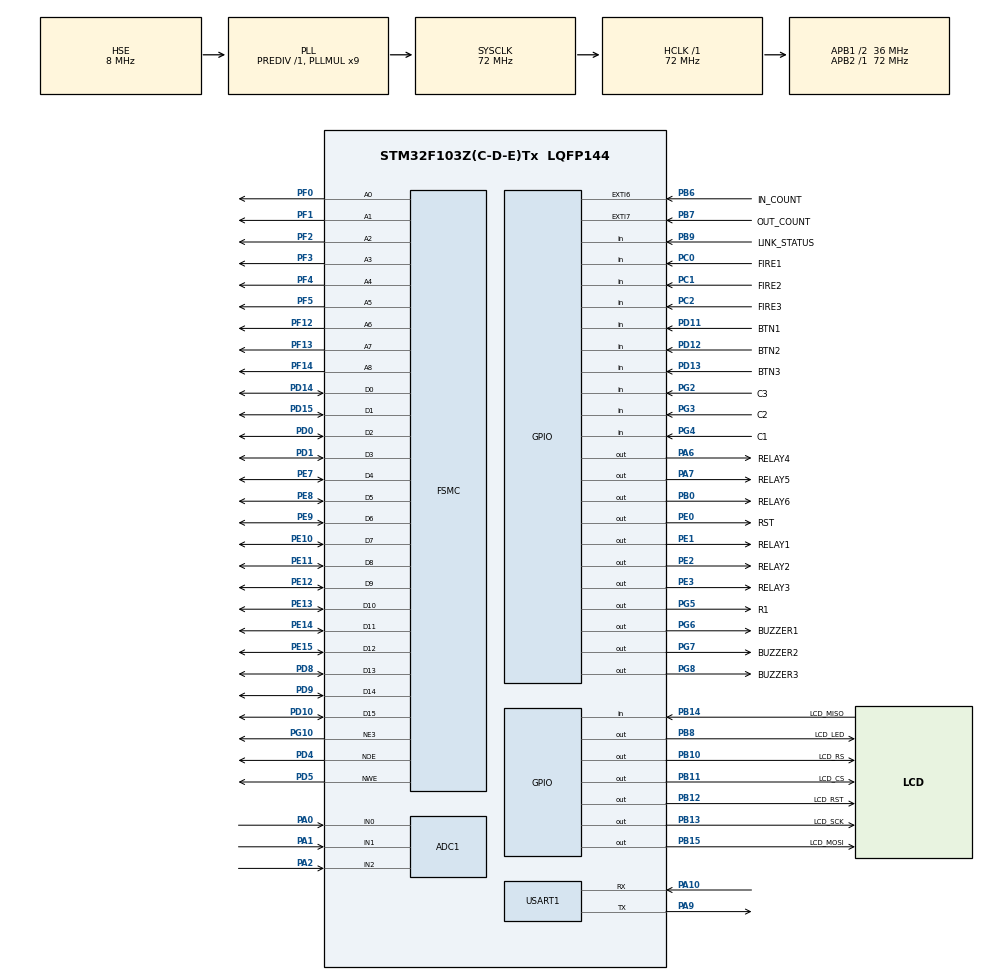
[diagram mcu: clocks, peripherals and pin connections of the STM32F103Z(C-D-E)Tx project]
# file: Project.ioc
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ADC1.Channel-0\#ChannelRegularConversion=ADC_CHANNEL_0
ADC1.Channel-6\#ChannelRegularConversion=ADC_CHANNEL_1
ADC1.Channel-7\#ChannelRegularConversion=ADC_CHANNEL_2
ADC1.DiscontinuousConvMode=ENABLE
ADC1.NbrOfConversion=3
ADC1.NbrOfConversionFlag=1
ADC1.Rank-0\#ChannelRegularConversion=1
ADC1.Rank-6\#ChannelRegularConversion=2
ADC1.Rank-7\#ChannelRegularConversion=3
ADC1.SamplingTime-0\#ChannelRegularConversion=ADC_SAMPLETIME_55CYCLES_5
ADC1.SamplingTime-6\#ChannelRegularConversion=ADC_SAMPLETIME_55CYCLES_5
ADC1.SamplingTime-7\#ChannelRegularConversion=ADC_SAMPLETIME_55CYCLES_5
ADC1.master=1
FSMC.AddressSetupTime1=1
FSMC.BusTurnAroundDuration1=0
FSMC.DataSetupTime1=15
FSMC.WriteOperation1=FSMC_WRITE_OPERATION_ENABLE
Mcu.Family=STM32F1
Mcu.Name=STM32F103Z(C-D-E)Tx
Mcu.Package=LQFP144
NVIC.EXTI9_5_IRQn=true\:1\:0\:true\:false\:true\:true\:true\:true
NVIC.PriorityGroup=NVIC_PRIORITYGROUP_4
NVIC.TIM2_IRQn=true\:0\:0\:false\:false\:true\:true\:true\:true
NVIC.TIM4_IRQn=true\:0\:0\:false\:false\:true\:true\:true\:true
OSC_IN.Mode=HSE-External-Oscillator
OSC_IN.Signal=RCC_OSC_IN
OSC_OUT.Mode=HSE-External-Oscillator
OSC_OUT.Signal=RCC_OSC_OUT
PA0-WKUP.Signal=ADCx_IN0
PA1.Signal=ADCx_IN1
PA10.Mode=Asynchronous
PA10.Signal=USART1_RX
PA2.Signal=ADCx_IN2
PA6.GPIO_Label=RELAY4
PA6.GPIO_PuPd=GPIO_PULLUP
PA6.GPIO_Speed=GPIO_SPEED_FREQ_HIGH
PA6.PinState=GPIO_PIN_SET
PA6.Signal=GPIO_Output
PA7.GPIO_Label=RELAY5
PA7.GPIO_PuPd=GPIO_PULLUP
PA7.GPIO_Speed=GPIO_SPEED_FREQ_HIGH
PA7.PinState=GPIO_PIN_SET
PA7.Signal=GPIO_Output
PA9.Mode=Asynchronous
PA9.Signal=USART1_TX
PB0.GPIO_Label=RELAY6
PB0.GPIO_PuPd=GPIO_PULLUP
PB0.GPIO_Speed=GPIO_SPEED_FREQ_HIGH
PB0.PinState=GPIO_PIN_SET
PB0.Signal=GPIO_Output
PB10.GPIO_Label=LCD_RS
PB10.GPIO_PuPd=GPIO_PULLDOWN
PB10.GPIO_Speed=GPIO_SPEED_FREQ_HIGH
PB10.PinState=GPIO_PIN_SET
PB10.Signal=GPIO_Output
PB11.GPIO_Label=LCD_CS
PB11.GPIO_PuPd=GPIO_PULLDOWN
PB11.GPIO_Speed=GPIO_SPEED_FREQ_HIGH
PB11.PinState=GPIO_PIN_SET
PB11.Signal=GPIO_Output
PB12.GPIO_Label=LCD_RST
PB12.GPIO_PuPd=GPIO_PULLDOWN
PB12.GPIO_Speed=GPIO_SPEED_FREQ_HIGH
PB12.PinState=GPIO_PIN_SET
PB12.Signal=GPIO_Output
PB13.GPIO_Label=LCD_SCK
PB13.GPIO_PuPd=GPIO_PULLDOWN
PB13.GPIO_Speed=GPIO_SPEED_FREQ_HIGH
PB13.PinState=GPIO_PIN_SET
PB13.Signal=GPIO_Output
PB14.GPIO_Label=LCD_MISO
PB14.GPIO_PuPd=GPIO_PULLUP
PB14.Signal=GPIO_Input
PB15.GPIO_Label=LCD_MOSI
PB15.GPIO_PuPd=GPIO_PULLDOWN
PB15.GPIO_Speed=GPIO_SPEED_FREQ_HIGH
PB15.PinState=GPIO_PIN_SET
PB15.Signal=GPIO_Output
PB6.GPIO_Label=IN_COUNT
PB6.GPIO_PuPd=GPIO_PULLUP
PB6.Signal=GPXTI6
PB7.GPIO_Label=OUT_COUNT
PB7.GPIO_PuPd=GPIO_PULLUP
PB7.Signal=GPXTI7
PB8.GPIO_Label=LCD_LED
PB8.GPIO_PuPd=GPIO_PULLUP
PB8.GPIO_Speed=GPIO_SPEED_FREQ_HIGH
PB8.PinState=GPIO_PIN_SET
PB8.Signal=GPIO_Output
PB9.GPIO_Label=LINK_STATUS
PB9.GPIO_PuPd=GPIO_PULLUP
PB9.Signal=GPIO_Input
PC0.GPIO_Label=FIRE1
PC0.GPIO_PuPd=GPIO_PULLUP
PC0.Signal=GPIO_Input
PC1.GPIO_Label=FIRE2
PC1.GPIO_PuPd=GPIO_PULLUP
PC1.Signal=GPIO_Input
PC2.GPIO_Label=FIRE3
PC2.GPIO_PuPd=GPIO_PULLUP
PC2.Signal=GPIO_Input
PD0.Signal=FSMC_D2_DA2
PD1.Signal=FSMC_D3_DA3
PD10.Signal=FSMC_D15_DA15
PD11.GPIO_Label=BTN1
PD11.GPIO_PuPd=GPIO_PULLUP
PD11.Signal=GPIO_Input
PD12.GPIO_Label=BTN2
PD12.GPIO_PuPd=GPIO_PULLUP
PD12.Signal=GPIO_Input
PD13.GPIO_Label=BTN3
PD13.GPIO_PuPd=GPIO_PULLUP
PD13.Signal=GPIO_Input
PD14.Signal=FSMC_D0_DA0
PD15.Signal=FSMC_D1_DA1
PD4.Signal=FSMC_NOE
PD5.Signal=FSMC_NWE
PD8.Signal=FSMC_D13_DA13
PD9.Signal=FSMC_D14_DA14
PE0.GPIO_Label=RST
PE0.GPIO_PuPd=GPIO_PULLUP
PE0.GPIO_Speed=GPIO_SPEED_FREQ_HIGH
PE0.PinState=GPIO_PIN_SET
PE0.Signal=GPIO_Output
PE1.GPIO_Label=RELAY1
PE1.GPIO_PuPd=GPIO_PULLUP
PE1.GPIO_Speed=GPIO_SPEED_FREQ_HIGH
PE1.PinState=GPIO_PIN_SET
PE1.Signal=GPIO_Output
PE10.Signal=FSMC_D7_DA7
PE11.Signal=FSMC_D8_DA8
PE12.Signal=FSMC_D9_DA9
PE13.Signal=FSMC_D10_DA10
PE14.Signal=FSMC_D11_DA11
PE15.Signal=FSMC_D12_DA12
PE2.GPIO_Label=RELAY2
PE2.GPIO_PuPd=GPIO_PULLUP
PE2.GPIO_Speed=GPIO_SPEED_FREQ_HIGH
PE2.PinState=GPIO_PIN_SET
PE2.Signal=GPIO_Output
PE3.GPIO_Label=RELAY3
PE3.GPIO_PuPd=GPIO_PULLUP
PE3.GPIO_Speed=GPIO_SPEED_FREQ_HIGH
PE3.PinState=GPIO_PIN_SET
PE3.Signal=GPIO_Output
PE7.Signal=FSMC_D4_DA4
PE8.Signal=FSMC_D5_DA5
PE9.Signal=FSMC_D6_DA6
PF0.Signal=FSMC_A0
PF1.Signal=FSMC_A1
PF12.Signal=FSMC_A6
PF13.Signal=FSMC_A7
PF14.Signal=FSMC_A8
PF2.Signal=FSMC_A2
PF3.Signal=FSMC_A3
PF4.Signal=FSMC_A4
PF5.Signal=FSMC_A5
PG10.Mode=NorPsramChipSelect3_1
PG10.Signal=FSMC_NE3
PG2.GPIO_Label=C3
PG2.GPIO_PuPd=GPIO_PULLUP
PG2.Signal=GPIO_Input
PG3.GPIO_Label=C2
PG3.GPIO_PuPd=GPIO_PULLUP
PG3.Signal=GPIO_Input
PG4.GPIO_Label=C1
PG4.GPIO_PuPd=GPIO_PULLUP
PG4.Signal=GPIO_Input
PG5.GPIO_Label=R1
PG5.GPIO_PuPd=GPIO_PULLUP
PG5.GPIO_Speed=GPIO_SPEED_FREQ_HIGH
PG5.PinState=GPIO_PIN_SET
PG5.Signal=GPIO_Output
PG6.GPIO_Label=BUZZER1
PG6.GPIO_PuPd=GPIO_PULLUP
PG6.GPIO_Speed=GPIO_SPEED_FREQ_HIGH
PG6.PinState=GPIO_PIN_SET
PG6.Signal=GPIO_Output
PG7.GPIO_Label=BUZZER2
PG7.GPIO_PuPd=GPIO_PULLUP
PG7.GPIO_Speed=GPIO_SPEED_FREQ_HIGH
PG7.PinState=GPIO_PIN_SET
PG7.Signal=GPIO_Output
PG8.GPIO_Label=BUZZER3
PG8.GPIO_PuPd=GPIO_PULLUP
PG8.GPIO_Speed=GPIO_SPEED_FREQ_HIGH
PG8.PinState=GPIO_PIN_SET
PG8.Signal=GPIO_Output
ProjectManager.HeapSize=0x200
ProjectManager.StackSize=0x400
ProjectManager.TargetToolchain=MDK-ARM V5.32
RCC.ADCPresc=RCC_ADCPCLK2_DIV6
RCC.AHBFreq_Value=72000000
RCC.APB1CLKDivider=RCC_HCLK_DIV2
RCC.APB1Freq_Value=36000000
RCC.APB1TimFreq_Value=72000000
RCC.APB2Freq_Value=72000000
RCC.APB2TimFreq_Value=72000000
RCC.HCLKFreq_Value=72000000
RCC.PLLMUL=RCC_PLL_MUL9
RCC.PLLSourceVirtual=RCC_PLLSOURCE_HSE
RCC.SYSCLKFreq_VALUE=72000000
RCC.SYSCLKSource=RCC_SYSCLKSOURCE_PLLCLK
RCC.USBFreq_Value=72000000
SH.ADCx_IN0.0=ADC1_IN0,IN0
SH.ADCx_IN1.0=ADC1_IN1,IN1
SH.ADCx_IN2.0=ADC1_IN2,IN2
SH.FSMC_A0.0=FSMC_A0,9b-a1
SH.FSMC_A1.0=FSMC_A1,9b-a1
SH.FSMC_A2.0=FSMC_A2,9b-a1
SH.FSMC_A3.0=FSMC_A3,9b-a1
SH.FSMC_A4.0=FSMC_A4,9b-a1
SH.FSMC_A5.0=FSMC_A5,9b-a1
SH.FSMC_A6.0=FSMC_A6,9b-a1
SH.FSMC_A7.0=FSMC_A7,9b-a1
SH.FSMC_A8.0=FSMC_A8,9b-a1
SH.FSMC_D0_DA0.0=FSMC_D0,16b-d1
SH.FSMC_D10_DA10.0=FSMC_D10,16b-d1
SH.FSMC_D11_DA11.0=FSMC_D11,16b-d1
SH.FSMC_D12_DA12.0=FSMC_D12,16b-d1
SH.FSMC_D13_DA13.0=FSMC_D13,16b-d1
SH.FSMC_D14_DA14.0=FSMC_D14,16b-d1
SH.FSMC_D15_DA15.0=FSMC_D15,16b-d1
SH.FSMC_D1_DA1.0=FSMC_D1,16b-d1
SH.FSMC_D2_DA2.0=FSMC_D2,16b-d1
SH.FSMC_D3_DA3.0=FSMC_D3,16b-d1
SH.FSMC_D4_DA4.0=FSMC_D4,16b-d1
SH.FSMC_D5_DA5.0=FSMC_D5,16b-d1
SH.FSMC_D6_DA6.0=FSMC_D6,16b-d1
SH.FSMC_D7_DA7.0=FSMC_D7,16b-d1
SH.FSMC_D8_DA8.0=FSMC_D8,16b-d1
SH.FSMC_D9_DA9.0=FSMC_D9,16b-d1
SH.FSMC_NOE.0=FSMC_NOE,Psram1
SH.FSMC_NWE.0=FSMC_NWE,Psram1
TIM2.Period=1000-1
TIM2.Prescaler=72-1
TIM4.Period=10000-1
TIM4.Prescaler=72-1
USART1.VirtualMode=VM_ASYNC
VP_SYS_VS_ND.Mode=No_Debug
VP_TIM2_VS_ClockSourceINT.Mode=Internal
VP_TIM4_VS_ClockSourceINT.Mode=Internal
board=custom

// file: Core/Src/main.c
/* USER CODE BEGIN Header */
/**
  ******************************************************************************
  * @file           : main.c
  * @brief          : Main program body
  ******************************************************************************
  * @attention
  *
  * Copyright (c) 2023 STMicroelectronics.
  * All rights reserved.
  *
  * This software is licensed under terms that can be found in the LICENSE file
  * in the root directory of this software component.
  * If no LICENSE file comes with this software, it is provided AS-IS.
  *
  ******************************************************************************
  */
/* USER CODE END Header */
#include "main.h"
#include "adc.h"
#include "tim.h"
#include "usart.h"
#include "gpio.h"
#include "fsmc.h"

/* USER CODE BEGIN Includes */
#include <stdio.h>
#include "w5300_config.h"
#include "mq4.h"
#include "bsp_flash.h"
#include "HW_key.h"
#include "lcd.h"
#include "gui.h"
#include "ShowLCD.h"
/* USER CODE END Includes */

/* USER CODE BEGIN PV */
uint16_t in_cnt = 0;
uint16_t out_cnt = 0;
// const uint8_t TEXT_Buffer_1[] = {"STM32 FLASH TEST_1"};
// const uint8_t TEXT_Buffer_2[] = {"STM32 FLASH TEST_2"};
// #define SIZE sizeof(TEXT_Buffer_1)
/* USER CODE END PV */

void SystemClock_Config(void);

int main(void)
{

  /* MCU Configuration--------------------------------------------------------*/

  /* Reset of all peripherals, Initializes the Flash interface and the Systick. */
  HAL_Init();

  /* Configure the system clock */
  SystemClock_Config();

  /* Initialize all configured peripherals */
  MX_GPIO_Init();
  MX_FSMC_Init();
  MX_TIM2_Init();
  MX_USART1_UART_Init();
  MX_ADC1_Init();
  MX_TIM4_Init();
  /* USER CODE BEGIN 2 */

  w5300_init();//w5300 chip initialization and link detection,in file w5300_config.c
  HAL_TIM_Base_Start_IT(&htim2);//Open timer 2 for creating 1ms and 1s interrupts
  HAL_ADCEx_Calibration_Start(&hadc1);//Turn on the ADC to detect combustible gases
  dhcp_init();//DHCP Init,in file w5300_config.c
  dns_init();//DNS Init,in file w5300_config.c
  LCD_Init();//LCD Init,in file lcd.c
  show_lcd();//Displays default content on the lcd screen,in file ShowLCD.c
  /* USER CODE END 2 */

  /* Infinite loop */
  /* USER CODE BEGIN WHILE */
  while (1)
  {
    do_dhcp();//Obtain an IP address using DHCP,in file w5300_config.c
    do_dns();//Resolve the MQTT server domain name using DNS,in file w5300_config.c
    detection_mq();//Detect combustible gas sensors and flame sensors,in file mq4.c
    keep_aliyun();//Keep alive MQTT connections,in file w5300_config.c
    sensor_time_send();//Periodically report data to the MQTT server,in file mq4.c
    Detection_key();//Detect the alarm button in the user area and the eliminate alarm button in the administrator area,in file HW_key.c
    update_lcd();//Update content to LCD screen,in file ShowLCD.c
    refresh_lcd();//Refresh the LCD screen to prevent motor interference,in file ShowLCD.c
    HAL_Delay(20);
    /* USER CODE END WHILE */

  }
}

void SystemClock_Config(void)
{
  RCC_OscInitTypeDef RCC_OscInitStruct = {0};
  RCC_ClkInitTypeDef RCC_ClkInitStruct = {0};
  RCC_PeriphCLKInitTypeDef PeriphClkInit = {0};

  /** Initializes the RCC Oscillators according to the specified parameters
  * in the RCC_OscInitTypeDef structure.
  */
  RCC_OscInitStruct.OscillatorType = RCC_OSCILLATORTYPE_HSE;
  RCC_OscInitStruct.HSEState = RCC_HSE_ON;
  RCC_OscInitStruct.HSEPredivValue = RCC_HSE_PREDIV_DIV1;
  RCC_OscInitStruct.HSIState = RCC_HSI_ON;
  RCC_OscInitStruct.PLL.PLLState = RCC_PLL_ON;
  RCC_OscInitStruct.PLL.PLLSource = RCC_PLLSOURCE_HSE;
  RCC_OscInitStruct.PLL.PLLMUL = RCC_PLL_MUL9;
  if (HAL_RCC_OscConfig(&RCC_OscInitStruct) != HAL_OK)
  {
    Error_Handler();
  }

  /** Initializes the CPU, AHB and APB buses clocks
  */
  RCC_ClkInitStruct.ClockType = RCC_CLOCKTYPE_HCLK|RCC_CLOCKTYPE_SYSCLK
                              |RCC_CLOCKTYPE_PCLK1|RCC_CLOCKTYPE_PCLK2;
  RCC_ClkInitStruct.SYSCLKSource = RCC_SYSCLKSOURCE_PLLCLK;
  RCC_ClkInitStruct.AHBCLKDivider = RCC_SYSCLK_DIV1;
  RCC_ClkInitStruct.APB1CLKDivider = RCC_HCLK_DIV2;
  RCC_ClkInitStruct.APB2CLKDivider = RCC_HCLK_DIV1;

  if (HAL_RCC_ClockConfig(&RCC_ClkInitStruct, FLASH_LATENCY_2) != HAL_OK)
  {
    Error_Handler();
  }
  PeriphClkInit.PeriphClockSelection = RCC_PERIPHCLK_ADC;
  PeriphClkInit.AdcClockSelection = RCC_ADCPCLK2_DIV6;
  if (HAL_RCCEx_PeriphCLKConfig(&PeriphClkInit) != HAL_OK)
  {
    Error_Handler();
  }
}

void Error_Handler(void)
{
  __disable_irq();
  while (1)
  {
  }
}
